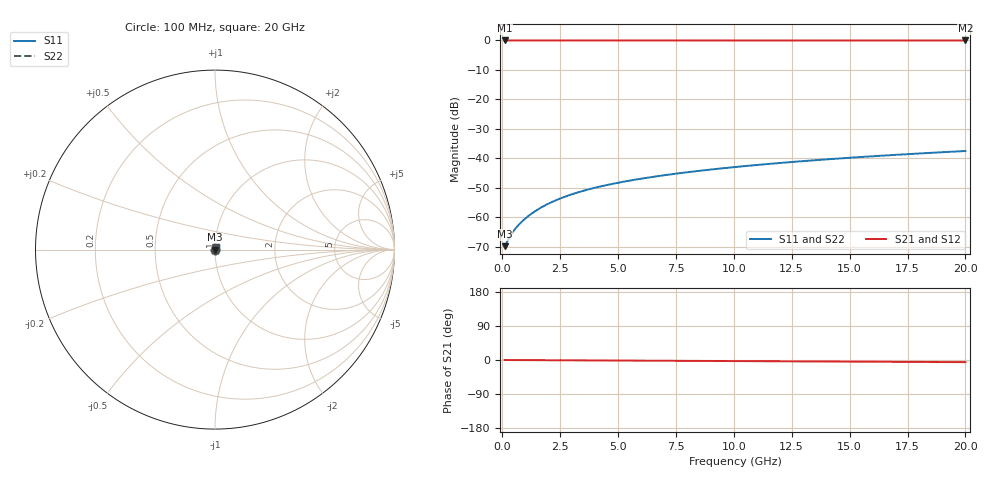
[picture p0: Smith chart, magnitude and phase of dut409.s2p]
! Touchstone file exported from HFSS 2026.1.0
!  File:  C:/ffzhzh/LocalFiles/Ansys_Project_Files/temp_train_TSV_409_1783020487_55676.aedt
!  Generated:  03:30:03 AM Jul  3, 2026
!  Design:  TSV
!  Project:  temp_train_TSV_409_1783020487_55676
! Variables:
!  h_bsmrdl = 2um
!  h_ox = 20um
!  h_rdl = 5um
!  h_sub = 57.22um
!  h_tmrdl = 5um
!  h_tsv = 57.22um
!  h_via = 3um
!  l_bsmrdl = 300um
!  l_sub = 409.88um
!  l_tmrdl = 200um
!  m_sub = 200um
!  pitch = 23.67um
!  r_tsv = 4.94um
!  s_tmrdl = 10um
!  w_bsmrdl = 18um
!  w_sub = 500um
!  w_tmrdl = 12um
!  x_tsv_center1 = 206um
!  x_tsv_center2 = 524um
!  x_tsv_center3 = 736um
!  x_tsv_center4 = 1054um
!  x_tsv_center5 = 1266um
!  x_tsv_center6 = 1584um
# GHz S MA R 50.000000
! Terminal data exported
! Port[1] = TSV1_1_T1
! Port[2] = TSV1_1_T2
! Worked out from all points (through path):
!   200 points, 100 MHz to 20 GHz, reference 50 ohm
!   highest |S21| = 0.00 dB at 100 MHz (marker M1); lowest = 0.0 dB at 20 GHz (marker M2)
!   lowest |S11| = -69.8 dB at 100 MHz (marker M3), VSWR 1.00, Z = 50 + j0.0107 ohm
!   |S11| at or under -10 dB: start of sweep to end of sweep
!   |S22| runs from -69.8 to -37.5 dB; largest |S21 - S12| = 3.4e-15
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0.1  0.0003243 19.2  0.9997 -0.0  0.9997 -0.0  0.0003243 19.2
! Gamma 0 0 0 0
! Port Impedance 50 0 50 0
0.3  0.0004521 41.4  0.9997 -0.1  0.9997 -0.1  0.0004521 41.4
0.4  0.0005247 47.2  0.9996 -0.1  0.9996 -0.1  0.0005247 47.2
0.6  0.0006687 54.7  0.9996 -0.2  0.9996 -0.2  0.0006687 54.7
0.9  0.0008855 61.8  0.9996 -0.3  0.9996 -0.3  0.0008855 61.8
1.1  0.001033 64.9  0.9996 -0.3  0.9996 -0.3  0.001033 64.9
1.3  0.001183 67.3  0.9995 -0.4  0.9995 -0.4  0.001183 67.3
1.5  0.001333 69.1  0.9995 -0.4  0.9995 -0.4  0.001333 69.1
1.8  0.001561 71.0  0.9995 -0.5  0.9995 -0.5  0.001561 71.0
2.3  0.001938 73.0  0.9994 -0.7  0.9994 -0.7  0.001938 73.0
2.9  0.002384 74.4  0.9994 -0.8  0.9994 -0.8  0.002384 74.4
3.5  0.002819 75.1  0.9993 -1.0  0.9993 -1.0  0.002819 75.1
4.2  0.003313 75.7  0.9992 -1.2  0.9992 -1.2  0.003313 75.7
5  0.003861 76.1  0.9992 -1.4  0.9992 -1.4  0.003861 76.1
5.8  0.004396 76.4  0.9991 -1.7  0.9991 -1.7  0.004396 76.4
6.8  0.005051 76.7  0.999 -2.0  0.999 -2.0  0.005051 76.7
8.3  0.006017 77.0  0.9989 -2.4  0.9989 -2.4  0.006017 77.0
10.1  0.007162 77.3  0.9988 -2.9  0.9988 -2.9  0.007162 77.3
11.7  0.008173 77.5  0.9987 -3.3  0.9987 -3.3  0.008173 77.5
13.4  0.009243 77.5  0.9986 -3.8  0.9986 -3.8  0.009243 77.5
16.7  0.0113 77.3  0.9984 -4.7  0.9984 -4.7  0.0113 77.3
20  0.01333 76.9  0.9982 -5.7  0.9982 -5.7  0.01333 76.9
